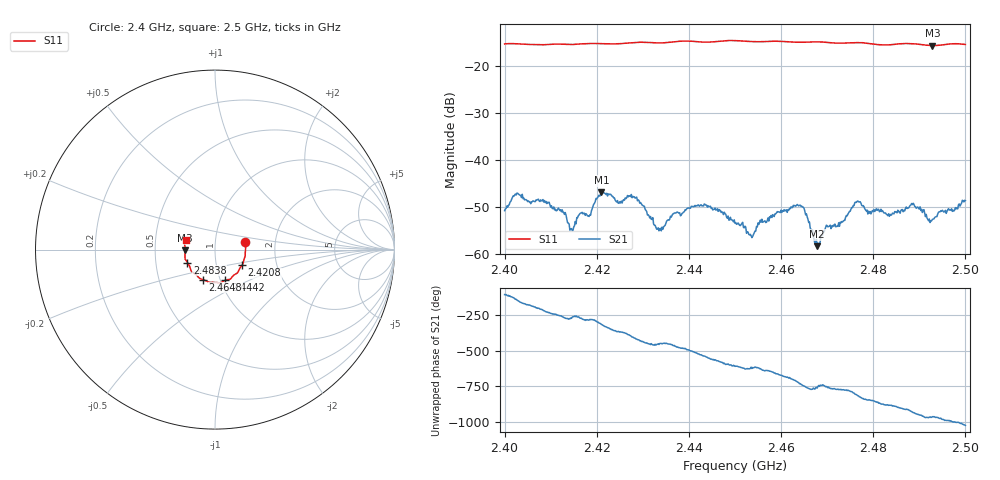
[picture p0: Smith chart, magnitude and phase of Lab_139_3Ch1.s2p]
# Hz S RI R 50
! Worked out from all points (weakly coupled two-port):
!   601 points, 2.4 GHz to 2.5 GHz, reference 50 ohm
!   highest |S21| = -46.86 dB at 2.421 GHz (marker M1); lowest = -58.3 dB at 2.4678 GHz (marker M2)
!   lowest |S11| = -15.6 dB at 2.4928 GHz (marker M3), VSWR 1.40, Z = 35.8 - j0.348 ohm
!   |S11| at or under -10 dB: start of sweep to end of sweep
!   S12 and S22 are empty: the file has one direction only
!   S11 on the Smith chart (normalised r, x): 2.4 GHz: 1.40, +0.12; 2.4208 GHz: 1.33, -0.24; 2.4442 GHz: 1.05, -0.37; 2.4648 GHz: 0.83, -0.29; 2.4838 GHz: 0.73, -0.11; 2.5 GHz: 0.72, +0.08
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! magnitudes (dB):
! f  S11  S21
! 2.4 GHz  -15.3  -50.8
! 2.4028 GHz  -15.2  -47.1
! 2.4122 GHz  -15.3  -50.6
! 2.4147 GHz  -15.4  -55.0
! 2.4167 GHz  -15.2  -51.2
! 2.4208 GHz  -15.2  -47.5
! 2.421 GHz  -15.2  -46.9
! 2.4283 GHz  -14.9  -48.1
! 2.4333 GHz  -15.0  -54.4
! 2.4442 GHz  -14.9  -49.7
! 2.45 GHz  -14.5  -53.5
! 2.4535 GHz  -14.7  -56.1
! 2.4592 GHz  -14.7  -51.0
! 2.4648 GHz  -14.9  -50.0
! 2.4667 GHz  -14.8  -54.9
! 2.4678 GHz  -14.8  -58.3
! 2.4765 GHz  -15.0  -48.8
! 2.4833 GHz  -15.5  -51.4
! 2.4838 GHz  -15.4  -51.8
! 2.4885 GHz  -15.2  -49.5
! 2.4928 GHz  -15.6  -52.6
! 2.5 GHz  -15.4  -48.6
